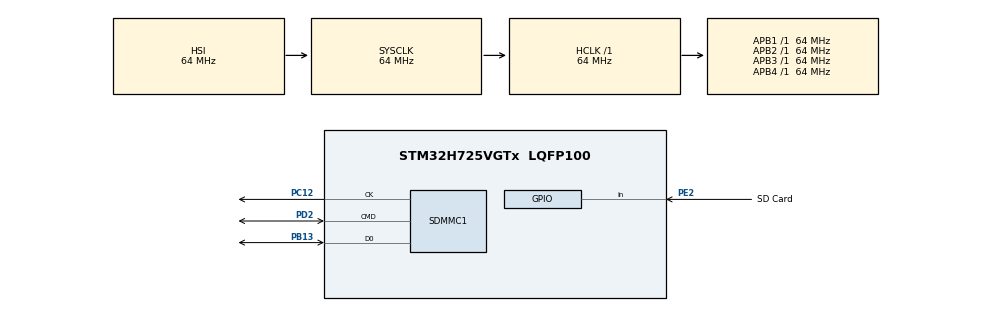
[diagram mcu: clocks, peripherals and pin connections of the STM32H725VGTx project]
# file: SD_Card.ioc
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FATFS.BSP.number=1
FATFS.USE_DMA_CODE_SD=1
FATFS0.BSP.STBoard=false
FATFS0.BSP.api=Unknown
FATFS0.BSP.instance=PE2
FATFS0.BSP.ip=GPIO
FATFS0.BSP.mode=Input
FATFS0.BSP.name=Detect_SDIO
FATFS0.BSP.solution=PE2
Mcu.Family=STM32H7
Mcu.Name=STM32H725VGTx
Mcu.Package=LQFP100
NVIC.PriorityGroup=NVIC_PRIORITYGROUP_4
NVIC.RCC_IRQn=true\:0\:0\:false\:false\:true\:true\:false\:true
NVIC.SDMMC1_IRQn=true\:0\:0\:false\:false\:true\:true\:true\:true
PB13.Mode=SD_1_bit
PB13.Signal=SDMMC1_D0
PC12.Mode=SD_1_bit
PC12.Signal=SDMMC1_CK
PD2.Mode=SD_1_bit
PD2.Signal=SDMMC1_CMD
PE2.GPIO_Label=SD Card
PE2.GPIO_PuPd=GPIO_PULLDOWN
PE2.Signal=GPIO_Input
PH0-OSC_IN.Mode=HSE-External-Oscillator
PH0-OSC_IN.Signal=RCC_OSC_IN
PH1-OSC_OUT.Mode=HSE-External-Oscillator
PH1-OSC_OUT.Signal=RCC_OSC_OUT
ProjectManager.HeapSize=0x400
ProjectManager.StackSize=0x800
ProjectManager.TargetToolchain=STM32CubeIDE
RCC.ADCFreq_Value=129000000
RCC.APB1Freq_Value=64000000
RCC.APB2Freq_Value=64000000
RCC.APB3Freq_Value=64000000
RCC.APB4Freq_Value=64000000
RCC.CortexFreq_Value=64000000
RCC.DIVM1=4
RCC.DIVN1=12
RCC.HCLKFreq_Value=64000000
RCC.PLLFRACN=0
RCC.SYSCLKFreq_VALUE=64000000
RCC.SupplySource=PWR_LDO_SUPPLY
RCC.USBFreq_Value=96000000
VP_FATFS_VS_SDIO.Mode=SDIO
board=custom

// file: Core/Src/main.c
/* USER CODE BEGIN Header */
/**
  ******************************************************************************
  * @file           : main.c
  * @brief          : Main program body
  ******************************************************************************
  * @attention
  *
  * Copyright (c) 2024 STMicroelectronics.
  * All rights reserved.
  *
  * This software is licensed under terms that can be found in the LICENSE file
  * in the root directory of this software component.
  * If no LICENSE file comes with this software, it is provided AS-IS.
  *
  ******************************************************************************
  */
/* USER CODE END Header */
#include "main.h"
#include "fatfs.h"

/* USER CODE BEGIN Includes */
#include <stdio.h>  //printf
#include <string.h>

/* Private includes ----------------------------------------------------------*/
/* USER CODE BEGIN Includes */

/* Includes ------------------------------------------------------------------*/
#include "fatfs.h"

/* Private includes ----------------------------------------------------------*/
/* USER CODE BEGIN Includes */
#include <stdio.h>  //printf
#include <string.h>
/* USER CODE END Includes */

/* USER CODE BEGIN PTD */
/* USER CODE BEGIN PTD */
#ifdef __GNUC__
  /* With GCC, small printf (option LD Linker->Libraries->Small printf
     set to 'Yes') calls __io_putchar() */
  #define PUTCHAR_PROTOTYPE int __io_putchar(int ch)
#else
  #define PUTCHAR_PROTOTYPE int fputc(int ch, FILE *f)
#endif /* __GNUC__ */
/* USER CODE END PTD */

SD_HandleTypeDef hsd1;

void SystemClock_Config(void);
static void MX_GPIO_Init(void);
static void MX_SDMMC1_SD_Init(void);

int main(void)
{
  /* USER CODE BEGIN 1 */
	FRESULT res; /* FatFs function common result code */
	uint32_t byteswritten, bytesread; /* File write/read counts */
	uint8_t wtext[] = "Hello from Mohamed :), SDIO DMA RTOS"; /* File write buffer */
	uint8_t rtext[100];/* File read buffer */

  /* USER CODE END 1 */

  /* MCU Configuration--------------------------------------------------------*/

  /* Reset of all peripherals, Initializes the Flash interface and the Systick. */
  HAL_Init();

  /* Configure the system clock */
  SystemClock_Config();

  /* Initialize all configured peripherals */
  MX_GPIO_Init();
  MX_SDMMC1_SD_Init();
  MX_FATFS_Init();
  /* USER CODE BEGIN 2 */

  if(f_mount(&SDFatFS, (TCHAR const*)SDPath, 0) != FR_OK)
  	{
  		//Error_Handler();
		printf("Failed to mount file\r\n");

  	}
  	else
  	{

		//Open file for writing (Create)
		if(f_open(&SDFile, "STM32.TXT", FA_CREATE_ALWAYS | FA_WRITE) != FR_OK)
		{
			//Error_Handler();
			printf("Failed to open Write file\r\n");
		}
		else
		{

			//Write to the text file
			res = f_write(&SDFile, wtext, strlen((char *)wtext), (void *)&byteswritten);
			if((byteswritten == 0) || (res != FR_OK))
			{
				printf("Failed to write file!\r\n");
				Error_Handler();
			}
			else
			{
				printf("File written successfully\r\n");
				printf("Write Content: %s\r\n", wtext);
			}
			f_close(&SDFile);

		}

  	}
  	f_mount(&SDFatFS, (TCHAR const*)NULL, 0);

  /* USER CODE END 2 */

  /* Infinite loop */
  while (1)
  {

  }
}

void SystemClock_Config(void)
{
  RCC_OscInitTypeDef RCC_OscInitStruct = {0};
  RCC_ClkInitTypeDef RCC_ClkInitStruct = {0};

  /** Supply configuration update enable
  */
  HAL_PWREx_ConfigSupply(PWR_LDO_SUPPLY);

  /** Configure the main internal regulator output voltage
  */
  __HAL_PWR_VOLTAGESCALING_CONFIG(PWR_REGULATOR_VOLTAGE_SCALE3);

  while(!__HAL_PWR_GET_FLAG(PWR_FLAG_VOSRDY)) {}

  /** Initializes the RCC Oscillators according to the specified parameters
  * in the RCC_OscInitTypeDef structure.
  */
  RCC_OscInitStruct.OscillatorType = RCC_OSCILLATORTYPE_HSI;
  RCC_OscInitStruct.HSIState = RCC_HSI_DIV1;
  RCC_OscInitStruct.HSICalibrationValue = 64;
  RCC_OscInitStruct.PLL.PLLState = RCC_PLL_ON;
  RCC_OscInitStruct.PLL.PLLSource = RCC_PLLSOURCE_HSI;
  RCC_OscInitStruct.PLL.PLLM = 4;
  RCC_OscInitStruct.PLL.PLLN = 12;
  RCC_OscInitStruct.PLL.PLLP = 2;
  RCC_OscInitStruct.PLL.PLLQ = 2;
  RCC_OscInitStruct.PLL.PLLR = 2;
  RCC_OscInitStruct.PLL.PLLRGE = RCC_PLL1VCIRANGE_3;
  RCC_OscInitStruct.PLL.PLLVCOSEL = RCC_PLL1VCOWIDE;
  RCC_OscInitStruct.PLL.PLLFRACN = 0;
  if (HAL_RCC_OscConfig(&RCC_OscInitStruct) != HAL_OK)
  {
    Error_Handler();
  }

  /** Initializes the CPU, AHB and APB buses clocks
  */
  RCC_ClkInitStruct.ClockType = RCC_CLOCKTYPE_HCLK|RCC_CLOCKTYPE_SYSCLK
                              |RCC_CLOCKTYPE_PCLK1|RCC_CLOCKTYPE_PCLK2
                              |RCC_CLOCKTYPE_D3PCLK1|RCC_CLOCKTYPE_D1PCLK1;
  RCC_ClkInitStruct.SYSCLKSource = RCC_SYSCLKSOURCE_HSI;
  RCC_ClkInitStruct.SYSCLKDivider = RCC_SYSCLK_DIV1;
  RCC_ClkInitStruct.AHBCLKDivider = RCC_HCLK_DIV1;
  RCC_ClkInitStruct.APB3CLKDivider = RCC_APB3_DIV1;
  RCC_ClkInitStruct.APB1CLKDivider = RCC_APB1_DIV1;
  RCC_ClkInitStruct.APB2CLKDivider = RCC_APB2_DIV1;
  RCC_ClkInitStruct.APB4CLKDivider = RCC_APB4_DIV1;

  if (HAL_RCC_ClockConfig(&RCC_ClkInitStruct, FLASH_LATENCY_1) != HAL_OK)
  {
    Error_Handler();
  }
}

static void MX_SDMMC1_SD_Init(void)
{

  hsd1.Instance = SDMMC1;
  hsd1.Init.ClockEdge = SDMMC_CLOCK_EDGE_RISING;
  hsd1.Init.ClockPowerSave = SDMMC_CLOCK_POWER_SAVE_DISABLE;
  hsd1.Init.BusWide = SDMMC_BUS_WIDE_1B;
  hsd1.Init.HardwareFlowControl = SDMMC_HARDWARE_FLOW_CONTROL_DISABLE;
  hsd1.Init.ClockDiv = 0;

}

static void MX_GPIO_Init(void)
{
  GPIO_InitTypeDef GPIO_InitStruct = {0};

  /* GPIO Ports Clock Enable */
  __HAL_RCC_GPIOE_CLK_ENABLE();
  __HAL_RCC_GPIOH_CLK_ENABLE();
  __HAL_RCC_GPIOB_CLK_ENABLE();
  __HAL_RCC_GPIOC_CLK_ENABLE();
  __HAL_RCC_GPIOD_CLK_ENABLE();

  /*Configure GPIO pin : SD_Card_Pin */
  GPIO_InitStruct.Pin = SD_Card_Pin;
  GPIO_InitStruct.Mode = GPIO_MODE_INPUT;
  GPIO_InitStruct.Pull = GPIO_PULLDOWN;
  HAL_GPIO_Init(SD_Card_GPIO_Port, &GPIO_InitStruct);

}

void Error_Handler(void)
{
  __disable_irq();
  while (1)
  {
  }
}
